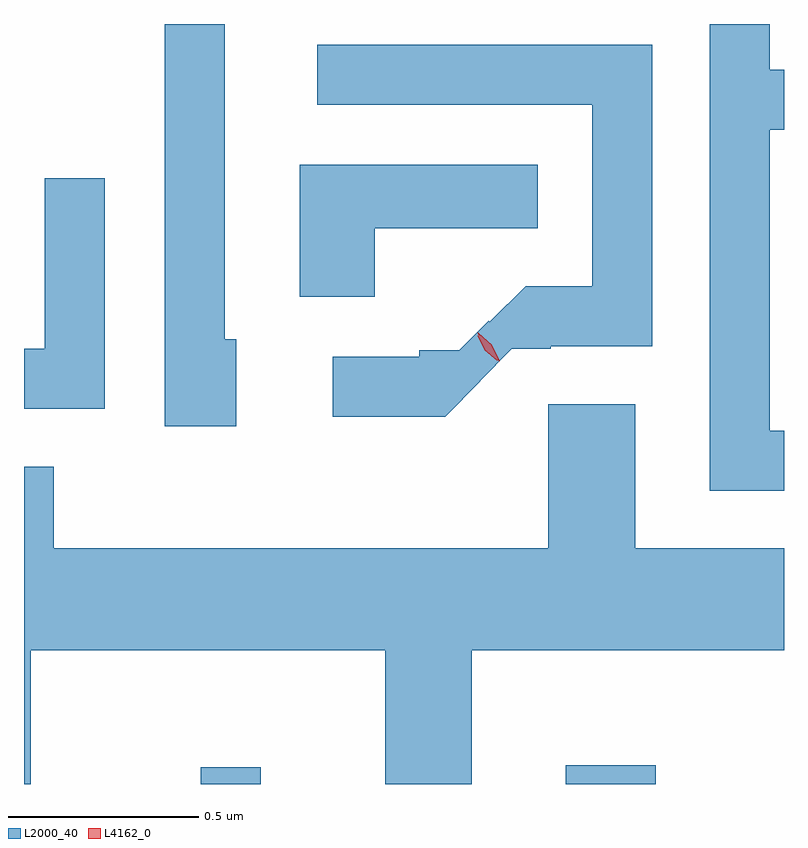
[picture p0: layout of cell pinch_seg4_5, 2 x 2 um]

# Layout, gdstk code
import gdstk
lib = gdstk.Library(unit=1e-6, precision=1e-09)
def R(c, l, rs):  # rectangles x0, y0, x1, y1
    for r in rs: c.add(gdstk.rectangle(r[:2], r[2:], *l))
def P(c, l, *ps):  # polygons
    for p in ps: c.add(gdstk.Polygon(p, *l))
L2000_40 = (2000, 40)
L4162_0 = (4162, 0)

pinch_seg4_5 = lib.new_cell('pinch_seg4_5')
R(pinch_seg4_5, L2000_40, [(857.356,1321.024,857.514,1321.068), (858.316,1321.024,858.554,1321.074)])
P(pinch_seg4_5, L2000_40, [(857.449,1322.194),(857.419,1322.194),(857.419,1323.024),(857.261,1323.024),(857.261,1321.966),(857.449,1321.966)],
  [(858.891,1321.954),(858.854,1321.954),(858.854,1322.746),(858.891,1322.746),(858.891,1322.904),(858.854,1322.904),(858.854,1323.024),(858.696,1323.024),(858.696,1321.796),(858.891,1321.796)],
  [(858.092,1322.084),(858.091,1322.085),(858.175,1322.169),(858.277,1322.169),(858.277,1322.176),(858.544,1322.176),(858.544,1322.969),(857.663,1322.969),(857.663,1322.811),(858.386,1322.811),(858.386,1322.334),(858.212,1322.334),(858.117,1322.24),(858.114,1322.243),(858.036,1322.165),(857.931,1322.165),(857.931,1322.149),(857.703,1322.149),(857.703,1321.991),(857.999,1321.991)],
  [(857.814,1322.486),(858.243,1322.486),(858.243,1322.654),(857.616,1322.654),(857.616,1322.306),(857.814,1322.306)],
  [(857.104,1322.618),(856.946,1322.618),(856.946,1322.169),(856.891,1322.169),(856.891,1322.011),(857.104,1322.011)],
  [(856.909,1321.376),(857.841,1321.376),(857.841,1321.024),(858.069,1321.024),(858.069,1321.376),(858.891,1321.376),(858.891,1321.644),(858.499,1321.644),(858.499,1322.024),(858.271,1322.024),(858.271,1321.644),(856.969,1321.644),(856.969,1321.859),(856.891,1321.859),(856.891,1321.024),(856.909,1321.024)])
P(pinch_seg4_5, L4162_0, [(858.136,1322.138),(858.103,1322.165),(858.085,1322.204),(858.085,1322.204),(858.086,1322.204),(858.119,1322.177),(858.137,1322.139),(858.137,1322.138)],
  [(858.142,1322.137),(858.106,1322.168),(858.085,1322.211),(858.085,1322.212),(858.086,1322.212),(858.122,1322.18),(858.143,1322.138),(858.143,1322.137)])

lib.write_gds('pinch_seg4_5.gds')
